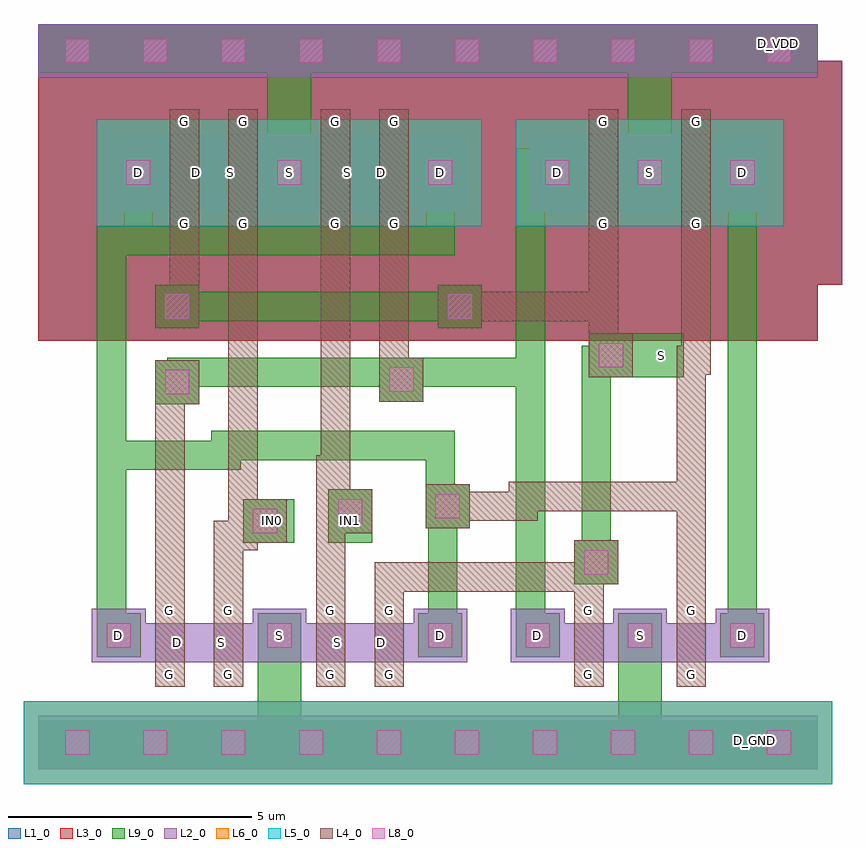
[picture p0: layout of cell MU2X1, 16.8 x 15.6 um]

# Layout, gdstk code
import gdstk
lib = gdstk.Library(unit=1e-6, precision=1e-09)
def R(c, l, rs):  # rectangles x0, y0, x1, y1
    for r in rs: c.add(gdstk.rectangle(r[:2], r[2:], *l))
def A(c, l, x, y, w, h, nx, ny, dx, dy):  # array of equal rectangles
    R(c, l, [(x+i*dx, y+j*dy, x+i*dx+w, y+j*dy+h) for i in range(nx) for j in range(ny)])
def P(c, l, *ps):  # polygons
    for p in ps: c.add(gdstk.Polygon(p, *l))
L1_0 = (1, 0)
L2_0 = (2, 0)
L3_0 = (3, 0)
L4_0 = (4, 0)
L5_0 = (5, 0)
L6_0 = (6, 0)
L8_0 = (8, 0)
L9_0 = (9, 0)

mu2x1 = lib.new_cell('MU2X1')
A(mu2x1, L1_0, 0, 8.8, 1.6, 6.5, 10, 1, 1.6, 0)
R(mu2x1, L1_0, [(0,9.95,6,14.55), (1.2,9.95,7.2,14.55), (3.1,9.95,9.1,14.55), (4.3,9.95,10.3,14.55), (8.6,9.95,14.6,14.55), (10.5,9.95,16.5,14.55)])
A(mu2x1, L2_0, 0, 0, 1.6, 1.1, 10, 2, 1.6, 14.2)
R(mu2x1, L2_0, [(1.1,2.2,2.2,3.3), (2.2,2.2,3.2,3), (2.3,2.2,3.4,3), (3.2,2.2,4.3,3), (3.4,2.2,4.4,3), (4.4,2.2,5.5,3.3), (4.4,2.2,5.5,3.3), (5.5,2.2,6.5,3), (5.6,2.2,6.7,3), (6.5,2.2,7.6,3), (6.7,2.2,7.7,3), (7.7,2.2,8.8,3.3), (9.7,2.2,10.8,3.3), (10.8,2.2,11.8,3), (11.8,2.2,12.9,3.3), (11.8,2.2,12.9,3.3), (12.9,2.2,13.9,3), (13.9,2.2,15,3.3), (1.5,11.45,2.6,13.05), (2.6,11.45,3.4,13.05), (2.7,11.45,3.8,13.05), (3.4,11.45,4.5,13.05), (3.8,11.45,4.6,13.05), (4.6,11.45,5.7,13.05), (4.6,11.45,5.7,13.05), (5.7,11.45,6.5,13.05), (5.8,11.45,6.9,13.05), (6.5,11.45,7.6,13.05), (6.9,11.45,7.7,13.05), (7.7,11.45,8.8,13.05), (10.1,11.45,11.2,13.05), (11.2,11.45,12,13.05), (12,11.45,13.1,13.05), (12,11.45,13.1,13.05), (13.1,11.45,13.9,13.05), (13.9,11.45,15,13.05)])
A(mu2x1, L3_0, 0, 8.8, 1.6, 6.5, 10, 1, 1.6, 0)
R(mu2x1, L3_0, [(0,9.95,6,14.55), (1.2,9.95,7.2,14.55), (3.1,9.95,9.1,14.55), (4.3,9.95,10.3,14.55), (8.6,9.95,14.6,14.55), (10.5,9.95,16.5,14.55)])
R(mu2x1, L4_0, [(2.4,1.7,3,2.2), (2.4,1.7,3,3.5), (3.6,1.7,4.2,2.2), (3.6,1.7,4.2,3.5), (5.7,1.7,6.3,2.2), (5.7,1.7,6.3,3.5), (6.9,1.7,7.5,2.2), (6.9,1.7,7.5,3.5), (11,1.7,11.6,2.2), (11,1.7,11.6,3.5), (13.1,1.7,13.7,2.2), (13.1,1.7,13.7,3.5), (5.7,2.95,6.3,4.4), (13.1,2.95,13.7,7.2), (2.4,3,3,3.5), (3.6,3,4.2,3.5), (5.7,3,6.3,3.5), (6.9,3,7.5,3.5), (11,3,11.6,3.5), (13.1,3,13.7,3.5), (6.9,3.05,7.5,4.25), (11,3.05,11.6,4.45), (2.4,3.5,3,7.5), (6.9,3.65,11.6,4.25), (11,3.8,11.9,4.7), (5.7,4.35,6.3,6.45), (3.9,4.5,4.5,11.6), (4.2,4.65,5.1,5.55), (5.95,4.85,6.85,5.75), (7.95,4.95,8.85,5.85), (5.8,5,6.4,10.95), (10.75,5.3,13.7,5.9), (2.4,7.5,3.3,8.4), (7,7.55,7.9,8.45), (7,7.6,7.6,10.95), (11.3,8.05,12.2,8.95), (11.3,8.5,11.9,10.95), (2.4,9.05,3.3,9.95), (2.7,9.05,3.3,11.25), (8.2,9.05,9.1,9.95), (8.35,9.2,11.9,9.8), (13.2,10,13.8,10.95), (2.7,10.95,3.3,13.55), (2.7,10.95,3.3,11.45), (3.9,10.95,4.5,13.55), (3.9,10.95,4.5,11.45), (5.8,10.95,6.4,13.55), (5.8,10.95,6.4,11.45), (7,10.95,7.6,13.55), (7,10.95,7.6,11.45), (11.3,10.95,11.9,13.55), (11.3,10.95,11.9,11.45), (13.2,10.95,13.8,13.55), (13.2,10.95,13.8,11.45), (2.7,13.05,3.3,13.55), (3.9,13.05,4.5,13.55), (5.8,13.05,6.4,13.55), (7,13.05,7.6,13.55), (11.3,13.05,11.9,13.55), (13.2,13.05,13.8,13.55)])
P(mu2x1, L4_0, [(7.95,5.1),(10.25,5.1),(10.25,5.3),(11,5.3),(11,5.9),(9.65,5.9),(9.65,5.7),(7.95,5.7)],
  [(3.6,3.1),(4.2,3.1),(4.2,4.5),(4.5,4.5),(4.5,5.1),(3.6,5.1)],
  [(13.1,6.6),(13.7,6.6),(13.7,8.1),(13.8,8.1),(13.8,10.15),(13.2,10.15),(13.2,8.7),(13.1,8.7)])
A(mu2x1, L5_0, 1.6, -0.3, 1.6, 1.7, 8, 1, 1.6, 0)
R(mu2x1, L5_0, [(-0.3,-0.3,1.6,1.4), (14.4,-0.3,16.3,1.4), (1.2,11.15,4.8,13.35), (2.4,11.15,6,13.35), (4.3,11.15,7.9,13.35), (5.5,11.15,9.1,13.35), (9.8,11.15,13.4,13.35), (11.7,11.15,15.3,13.35)])
A(mu2x1, L6_0, 1.6, -0.3, 1.6, 1.7, 8, 1, 1.6, 0)
R(mu2x1, L6_0, [(-0.3,-0.3,1.6,1.4), (14.4,-0.3,16.3,1.4), (1.2,11.15,4.8,13.35), (2.4,11.15,6,13.35), (4.3,11.15,7.9,13.35), (5.5,11.15,9.1,13.35), (9.8,11.15,13.4,13.35), (11.7,11.15,15.3,13.35)])
A(mu2x1, L8_0, 0.55, 0.3, 0.5, 0.5, 10, 2, 1.6, 14.2)
R(mu2x1, L8_0, [(1.4,2.5,1.9,3), (4.7,2.5,5.2,3), (4.7,2.5,5.2,3), (8,2.5,8.5,3), (10,2.5,10.5,3), (12.1,2.5,12.6,3), (12.1,2.5,12.6,3), (14.2,2.5,14.7,3), (11.2,4,11.7,4.5), (4.4,4.85,4.9,5.35), (6.15,5.05,6.65,5.55), (8.15,5.15,8.65,5.65), (2.6,7.7,3.1,8.2), (7.2,7.75,7.7,8.25), (11.5,8.25,12,8.75), (2.6,9.25,3.1,9.75), (8.4,9.25,8.9,9.75), (1.8,12,2.3,12.5), (4.9,12,5.4,12.5), (4.9,12,5.4,12.5), (8,12,8.5,12.5), (10.4,12,10.9,12.5), (12.3,12,12.8,12.5), (12.3,12,12.8,12.5), (14.2,12,14.7,12.5)])
A(mu2x1, L9_0, 0, 0, 1.6, 1, 10, 2, 1.6, 14.3)
R(mu2x1, L9_0, [(0,0,16,1), (4.5,0.05,5.4,3.2), (11.9,0.55,12.8,3.2), (1.2,2.3,2.1,3.2), (4.5,2.3,5.4,3.2), (4.5,2.3,5.4,3.2), (7.8,2.3,8.7,3.2), (9.8,2.3,10.7,3.2), (11.9,2.3,12.8,3.2), (11.9,2.3,12.8,3.2), (14,2.3,14.9,3.2), (14,2.3,14.9,3.2), (14.15,2.4,14.75,12.35), (8,2.6,8.6,5.55), (9.8,2.6,10.4,8.45), (1.2,2.75,1.8,4.75), (11,3.8,11.9,4.7), (11.15,3.9,11.75,8.7), (4.2,4.65,5.1,5.55), (4.35,4.65,5.25,5.55), (5.95,4.65,6.85,5.55), (5.95,4.85,6.85,5.75), (7.95,4.95,8.85,5.85), (2.4,7.5,3.3,8.4), (7,7.55,7.9,8.45), (2.65,7.85,7.1,8.45), (7.3,7.85,10.4,8.45), (9.8,7.85,10.4,12.75), (11.3,8.05,12.2,8.95), (12.2,8.05,12.35,8.95), (12.35,8.05,13.25,8.95), (2.4,9.05,3.3,9.95), (8.2,9.05,9.1,9.95), (2.5,9.2,8.95,9.8), (1.75,10.55,8.55,11.15), (1.75,10.55,2.35,12.7), (7.95,10.55,8.55,12.3), (1.6,11.75,2.5,12.75), (4.7,11.75,5.6,12.75), (4.7,11.75,5.6,12.75), (7.8,11.75,8.7,12.75), (10.2,11.75,11.1,12.75), (12.1,11.75,13,12.75), (12.1,11.75,13,12.75), (14,11.75,14.9,12.75), (4.7,11.8,5.6,15.2), (12.1,11.8,13,14.9), (0,14.3,16,15.3)])
P(mu2x1, L9_0, [(1.2,4.4),(1.8,4.4),(1.8,10.55),(2.35,10.55),(2.35,11.15),(1.2,11.15)],
  [(1.2,6.15),(4.15,6.15),(4.15,6.35),(7.95,6.35),(7.95,5.25),(8.55,5.25),(8.55,6.95),(3.55,6.95),(3.55,6.75),(1.2,6.75)])
mu2x1.add(gdstk.Label('G', (4.2,11.202), layer=4, texttype=0))
mu2x1.add(gdstk.Label('G', (4.2,13.302), layer=4, texttype=0))
mu2x1.add(gdstk.Label('S', (5.151,12.251), layer=9, texttype=0))
mu2x1.add(gdstk.Label('D', (3.251,12.251), layer=2, texttype=0))
mu2x1.add(gdstk.Label('G', (2.7,1.952), layer=4, texttype=0))
mu2x1.add(gdstk.Label('G', (2.7,3.252), layer=4, texttype=0))
mu2x1.add(gdstk.Label('S', (3.751,2.601), layer=2, texttype=0))
mu2x1.add(gdstk.Label('D', (1.651,2.751), layer=9, texttype=0))
mu2x1.add(gdstk.Label('G', (11.6,11.202), layer=4, texttype=0))
mu2x1.add(gdstk.Label('G', (11.6,13.302), layer=4, texttype=0))
mu2x1.add(gdstk.Label('S', (12.551,12.251), layer=9, texttype=0))
mu2x1.add(gdstk.Label('D', (10.651,12.251), layer=9, texttype=0))
mu2x1.add(gdstk.Label('G', (11.3,1.952), layer=4, texttype=0))
mu2x1.add(gdstk.Label('G', (11.3,3.252), layer=4, texttype=0))
mu2x1.add(gdstk.Label('S', (12.351,2.751), layer=9, texttype=0))
mu2x1.add(gdstk.Label('D', (10.251,2.751), layer=9, texttype=0))
mu2x1.add(gdstk.Label('G', (13.4,1.952), layer=4, texttype=0))
mu2x1.add(gdstk.Label('G', (13.4,3.252), layer=4, texttype=0))
mu2x1.add(gdstk.Label('S', (12.349,2.751), layer=9, texttype=0))
mu2x1.add(gdstk.Label('D', (14.449,2.751), layer=9, texttype=0))
mu2x1.add(gdstk.Label('G', (13.5,11.202), layer=4, texttype=0))
mu2x1.add(gdstk.Label('G', (13.5,13.302), layer=4, texttype=0))
mu2x1.add(gdstk.Label('S', (12.549,12.251), layer=9, texttype=0))
mu2x1.add(gdstk.Label('D', (14.449,12.251), layer=9, texttype=0))
mu2x1.add(gdstk.Label('G', (7.3,11.202), layer=4, texttype=0))
mu2x1.add(gdstk.Label('G', (7.3,13.302), layer=4, texttype=0))
mu2x1.add(gdstk.Label('S', (6.349,12.251), layer=2, texttype=0))
mu2x1.add(gdstk.Label('D', (8.249,12.251), layer=9, texttype=0))
mu2x1.add(gdstk.Label('G', (6.1,11.202), layer=4, texttype=0))
mu2x1.add(gdstk.Label('G', (6.1,13.302), layer=4, texttype=0))
mu2x1.add(gdstk.Label('S', (5.149,12.251), layer=9, texttype=0))
mu2x1.add(gdstk.Label('D', (7.049,12.251), layer=2, texttype=0))
mu2x1.add(gdstk.Label('G', (7.2,1.952), layer=4, texttype=0))
mu2x1.add(gdstk.Label('G', (7.2,3.252), layer=4, texttype=0))
mu2x1.add(gdstk.Label('S', (6.149,2.601), layer=2, texttype=0))
mu2x1.add(gdstk.Label('D', (8.249,2.751), layer=9, texttype=0))
mu2x1.add(gdstk.Label('D', (7.049,2.601), layer=2, texttype=0))
mu2x1.add(gdstk.Label('G', (6,1.952), layer=4, texttype=0))
mu2x1.add(gdstk.Label('G', (6,3.252), layer=4, texttype=0))
mu2x1.add(gdstk.Label('S', (4.949,2.751), layer=9, texttype=0))
mu2x1.add(gdstk.Label('D', (2.851,2.601), layer=2, texttype=0))
mu2x1.add(gdstk.Label('G', (3.9,1.952), layer=4, texttype=0))
mu2x1.add(gdstk.Label('G', (3.9,3.252), layer=4, texttype=0))
mu2x1.add(gdstk.Label('S', (4.951,2.751), layer=9, texttype=0))
mu2x1.add(gdstk.Label('D', (2.051,12.251), layer=9, texttype=0))
mu2x1.add(gdstk.Label('S', (3.951,12.251), layer=2, texttype=0))
mu2x1.add(gdstk.Label('G', (3,13.302), layer=4, texttype=0))
mu2x1.add(gdstk.Label('G', (3,11.202), layer=4, texttype=0))
mu2x1.add(gdstk.Label('Q', (14.45,2.8), layer=50, texttype=0))
mu2x1.add(gdstk.Label('S', (12.8,8.5), layer=50, texttype=0))
mu2x1.add(gdstk.Label('IN1', (6.4,5.1), layer=50, texttype=0))
mu2x1.add(gdstk.Label('D_GND', (14.7,0.6), layer=50, texttype=0))
mu2x1.add(gdstk.Label('D_VDD', (15.2,14.9), layer=50, texttype=0))
mu2x1.add(gdstk.Label('IN0', (4.8,5.1), layer=50, texttype=0))

lib.write_gds('MU2X1.gds')
